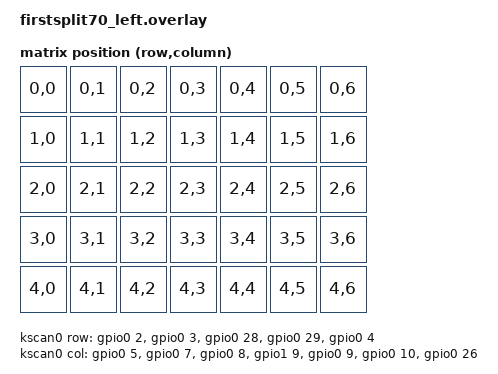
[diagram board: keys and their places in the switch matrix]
/ {
	chosen {
		zmk,kscan = &kscan0;
		zmk,matrix-transform = &default_transform;
	};

	default_transform: matrix_transform_0 {
		compatible = "zmk,matrix-transform";
		rows = <5>;
		columns = <7>;
		map = [
			RC(0,0) RC(0,1) RC(0,2) RC(0,3) RC(0,4) RC(0,5) RC(0,6)
			RC(1,0) RC(1,1) RC(1,2) RC(1,3) RC(1,4) RC(1,5) RC(1,6)
			RC(2,0) RC(2,1) RC(2,2) RC(2,3) RC(2,4) RC(2,5) RC(2,6)
			RC(3,0) RC(3,1) RC(3,2) RC(3,3) RC(3,4) RC(3,5) RC(3,6)
			RC(4,0) RC(4,1) RC(4,2) RC(4,3) RC(4,4) RC(4,5) RC(4,6)
		];
	};

	kscan0: kscan {
		compatible = "zmk,kscan-gpio-matrix";
		diode-direction = "row2col";

		// 5行のピン定義（D0-D4に対応）
		row-gpios
			= <&gpio0 2 (GPIO_ACTIVE_HIGH | GPIO_PULL_DOWN)>   // D0 (P0.2)
			, <&gpio0 3 (GPIO_ACTIVE_HIGH | GPIO_PULL_DOWN)>   // D1 (P0.3)
			, <&gpio0 28 (GPIO_ACTIVE_HIGH | GPIO_PULL_DOWN)>  // D2 (P0.28)
			, <&gpio0 29 (GPIO_ACTIVE_HIGH | GPIO_PULL_DOWN)>  // D3 (P0.29)
			, <&gpio0 4 (GPIO_ACTIVE_HIGH | GPIO_PULL_DOWN)>   // D4 (P0.4)
			;

		// 7列のピン定義（D5-D11に対応）
		col-gpios
			= <&gpio0 5 (GPIO_ACTIVE_HIGH | GPIO_PULL_DOWN)>   // D5 (P0.5)
			, <&gpio0 7 (GPIO_ACTIVE_HIGH | GPIO_PULL_DOWN)>   // D6 (P0.7)
			, <&gpio0 8 (GPIO_ACTIVE_HIGH | GPIO_PULL_DOWN)>   // D7 (P0.8)
			, <&gpio1 9 (GPIO_ACTIVE_HIGH | GPIO_PULL_DOWN)>   // D8 (P1.9)
			, <&gpio0 9 (GPIO_ACTIVE_HIGH | GPIO_PULL_DOWN)>   // D9 (P0.9)
			, <&gpio0 10 (GPIO_ACTIVE_HIGH | GPIO_PULL_DOWN)>  // D10 (P0.10)
			, <&gpio0 26 (GPIO_ACTIVE_HIGH | GPIO_PULL_DOWN)>  // A7 (P0.26)
			;
	};
};
